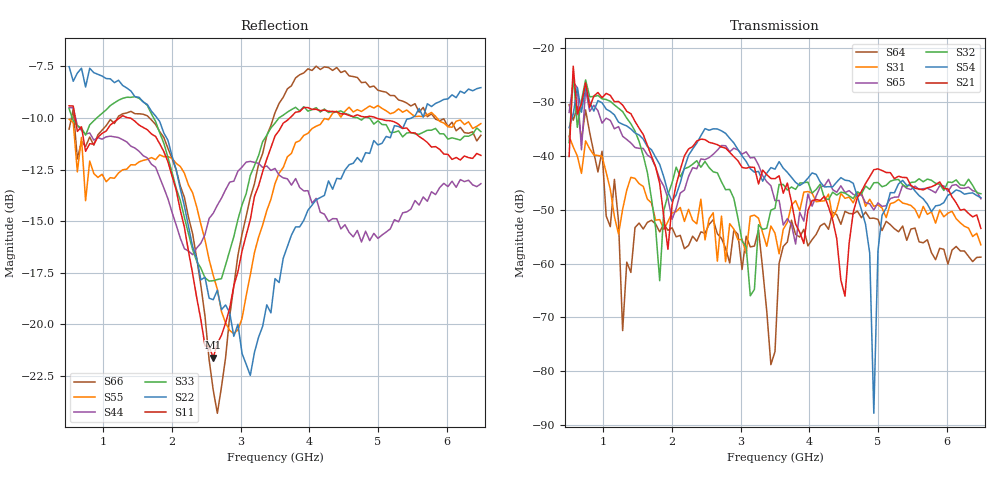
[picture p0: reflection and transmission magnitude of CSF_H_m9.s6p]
!Keysight Technologies,M9804A,MY58100912,A.14.10.03
!Date: Thursday, April 27, 2023 10:28:33
!Correction: S11(C  6-Port  )
!S12(C  6-Port  )
!S13(C  6-Port  )
!S14(C  6-Port  )
!S15(C  6-Port  )
!S16(C  6-Port  )
!S21(C  6-Port  )
!S22(C  6-Port  )
!S23(C  6-Port  )
!S24(C  6-Port  )
!S25(C  6-Port  )
!S26(C  6-Port  )
!S31(C  6-Port  )
!S32(C  6-Port  )
!S33(C  6-Port  )
!S34(C  6-Port  )
!S35(C  6-Port  )
!S36(C  6-Port  )
!S41(C  6-Port  )
!S42(C  6-Port  )
!S43(C  6-Port  )
!S44(C  6-Port  )
!S45(C  6-Port  )
!S46(C  6-Port  )
!S51(C  6-Port  )
!S52(C  6-Port  )
!S53(C  6-Port  )
!S54(C  6-Port  )
!S55(C  6-Port  )
!S56(C  6-Port  )
!S61(C  6-Port  )
!S62(C  6-Port  )
!S63(C  6-Port  )
!S64(C  6-Port  )
!S65(C  6-Port  )
!S66(C  6-Port  )
!S6P File: Measurement: :
# Hz S  RI  R 50
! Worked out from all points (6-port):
!   101 points, 500 MHz to 6.5 GHz, reference 50 ohm
!   strongest paths, dB at 500 MHz, 2 GHz, 3.5 GHz, 5 GHz, 6.5 GHz:
!     S21: -40.1, -49.1, -44.2, -42.4, -53.5
!     S54: -34.8, -48.5, -42.5, -57.7, -47.8
!     S32: -37.6, -45.0, -49.7, -45.0, -47.0
!     S65: -31.9, -51.8, -48.3, -48.7, -48.0
!     S31: -36.3, -50.6, -54.4, -49.1, -56.5
!     S64: -30.5, -53.4, -76.4, -51.8, -58.8
!   lowest |S11| = -21.6 dB at 2.6 GHz (marker M1), VSWR 1.18, Z = 42.6 + j2.03 ohm
!   |S11| at or under -10 dB: 588.2 MHz to 1.235 GHz (646.8 MHz wide, 71 % of centre); 1.376 GHz to 3.717 GHz (2.341 GHz wide, 91.9 % of centre); 4.973 GHz to end of sweep
